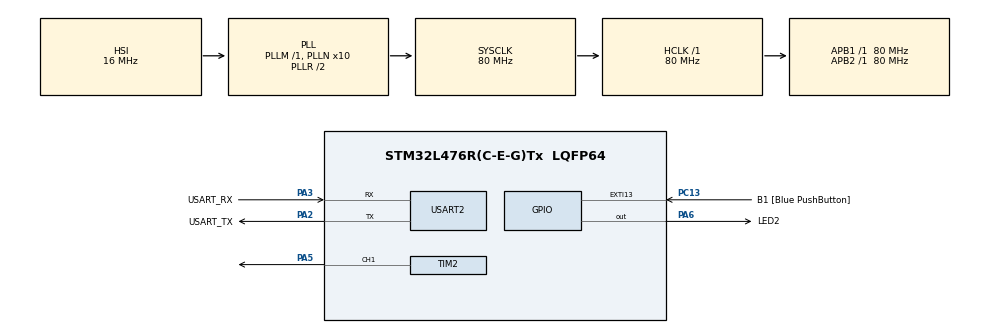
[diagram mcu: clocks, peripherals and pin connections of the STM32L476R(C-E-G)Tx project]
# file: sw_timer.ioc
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FREERTOS.Tasks01=defaultTask,24,128,StartDefaultTask,Default,NULL,Dynamic,NULL,NULL
Mcu.Family=STM32L4
Mcu.Name=STM32L476R(C-E-G)Tx
Mcu.Package=LQFP64
NVIC.PriorityGroup=NVIC_PRIORITYGROUP_4
PA13\ (JTMS-SWDIO).GPIO_Label=TMS
PA13\ (JTMS-SWDIO).Mode=Serial_Wire
PA13\ (JTMS-SWDIO).Signal=SYS_JTMS-SWDIO
PA14\ (JTCK-SWCLK).GPIO_Label=TCK
PA14\ (JTCK-SWCLK).Mode=Serial_Wire
PA14\ (JTCK-SWCLK).Signal=SYS_JTCK-SWCLK
PA2.GPIO_Label=USART_TX
PA2.GPIO_Mode=GPIO_MODE_AF_PP
PA2.GPIO_PuPd=GPIO_NOPULL
PA2.GPIO_Speed=GPIO_SPEED_FREQ_VERY_HIGH
PA2.Mode=Asynchronous
PA2.Signal=USART2_TX
PA3.GPIO_Label=USART_RX
PA3.GPIO_Mode=GPIO_MODE_AF_PP
PA3.GPIO_PuPd=GPIO_NOPULL
PA3.GPIO_Speed=GPIO_SPEED_FREQ_VERY_HIGH
PA3.Mode=Asynchronous
PA3.Signal=USART2_RX
PA5.Signal=S_TIM2_CH1
PA6.GPIO_Label=LED2
PA6.Signal=GPIO_Output
PB3\ (JTDO-TRACESWO).GPIO_Label=SWO
PB3\ (JTDO-TRACESWO).Signal=SYS_JTDO-SWO
PC13.GPIO_Label=B1 [Blue PushButton]
PC13.GPIO_ModeDefaultEXTI=GPIO_MODE_IT_FALLING
PC13.GPIO_PuPd=GPIO_NOPULL
PC13.Signal=GPXTI13
PC14-OSC32_IN\ (PC14).Mode=LSE-External-Oscillator
PC14-OSC32_IN\ (PC14).Signal=RCC_OSC32_IN
PC15-OSC32_OUT\ (PC15).Mode=LSE-External-Oscillator
PC15-OSC32_OUT\ (PC15).Signal=RCC_OSC32_OUT
PH0-OSC_IN\ (PH0).Signal=RCC_OSC_IN
PH1-OSC_OUT\ (PH1).Signal=RCC_OSC_OUT
ProjectManager.HeapSize=0x200
ProjectManager.StackSize=0x400
ProjectManager.TargetToolchain=CMake
RCC.ADCFreq_Value=64000000
RCC.AHBFreq_Value=80000000
RCC.APB1Freq_Value=80000000
RCC.APB1TimFreq_Value=80000000
RCC.APB2Freq_Value=80000000
RCC.APB2TimFreq_Value=80000000
RCC.CortexFreq_Value=80000000
RCC.HCLKFreq_Value=80000000
RCC.HSE_VALUE=8000000
RCC.HSI_VALUE=16000000
RCC.MSI_VALUE=4000000
RCC.PLLN=10
RCC.PLLSourceVirtual=RCC_PLLSOURCE_HSI
RCC.PREFETCH_ENABLE=1
RCC.SYSCLKFreq_VALUE=80000000
RCC.SYSCLKSource=RCC_SYSCLKSOURCE_PLLCLK
RCC.USBFreq_Value=64000000
RCC.VCOOutputFreq_Value=160000000
SH.S_TIM2_CH1.0=TIM2_CH1,PWM Generation1 CH1
TIM2.Channel-PWM\ Generation1\ CH1=TIM_CHANNEL_1
TIM2.Period=99
TIM2.Prescaler=79
USART2.VirtualMode-Asynchronous=VM_ASYNC
VP_FREERTOS_VS_CMSIS_V2.Mode=CMSIS_V2
VP_TIM6_VS_ClockSourceINT.Mode=Enable_Timer
board=NUCLEO-L476RG

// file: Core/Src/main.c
/* USER CODE BEGIN Header */
/**
 ******************************************************************************
 * @file           : main.c
 * @brief          : Main program body
 ******************************************************************************
 * @attention
 *
 * Copyright (c) 2026 STMicroelectronics.
 * All rights reserved.
 *
 * This software is licensed under terms that can be found in the LICENSE file
 * in the root directory of this software component.
 * If no LICENSE file comes with this software, it is provided AS-IS.
 *
 ******************************************************************************
 */
/* USER CODE END Header */
#include "main.h"
#include "cmsis_os.h"

/* USER CODE BEGIN Includes */
#include "timer_app.h"
#include <stdio.h>
#include <string.h>
/* USER CODE END Includes */

TIM_HandleTypeDef htim2;
TIM_HandleTypeDef htim6;

UART_HandleTypeDef huart2;

/* Definitions for defaultTask */
osThreadId_t defaultTaskHandle;
const osThreadAttr_t defaultTask_attributes = {
    .name = "defaultTask",
    .stack_size = 128 * 4,
    .priority = (osPriority_t)osPriorityNormal,
};

void SystemClock_Config(void);
static void MX_GPIO_Init(void);
static void MX_TIM2_Init(void);
static void MX_TIM6_Init(void);
static void MX_USART2_UART_Init(void);
void StartDefaultTask(void *argument);

int main(void)
{

    /* MCU
     * Configuration--------------------------------------------------------*/

    /* Reset of all peripherals, Initializes the Flash interface and the
     * Systick. */
    HAL_Init();

    /* Configure the system clock */
    SystemClock_Config();

    /* Initialize all configured peripherals */
    MX_GPIO_Init();
    MX_TIM2_Init();
    MX_TIM6_Init();
    MX_USART2_UART_Init();

    /* Init scheduler */
    osKernelInitialize();

    /* Create the thread(s) */
    /* creation of defaultTask */
    defaultTaskHandle =
        osThreadNew(StartDefaultTask, NULL, &defaultTask_attributes);

    /* Start scheduler */
    osKernelStart();

    /* We should never get here as control is now taken by the scheduler */

    /* Infinite loop */
    while (1)
    {

    }
}

void SystemClock_Config(void)
{
    RCC_OscInitTypeDef RCC_OscInitStruct = {0};
    RCC_ClkInitTypeDef RCC_ClkInitStruct = {0};

    /** Configure the main internal regulator output voltage
     */
    if (HAL_PWREx_ControlVoltageScaling(PWR_REGULATOR_VOLTAGE_SCALE1) != HAL_OK)
    {
        Error_Handler();
    }

    /** Initializes the RCC Oscillators according to the specified parameters
     * in the RCC_OscInitTypeDef structure.
     */
    RCC_OscInitStruct.OscillatorType = RCC_OSCILLATORTYPE_HSI;
    RCC_OscInitStruct.HSIState = RCC_HSI_ON;
    RCC_OscInitStruct.HSICalibrationValue = RCC_HSICALIBRATION_DEFAULT;
    RCC_OscInitStruct.PLL.PLLState = RCC_PLL_ON;
    RCC_OscInitStruct.PLL.PLLSource = RCC_PLLSOURCE_HSI;
    RCC_OscInitStruct.PLL.PLLM = 1;
    RCC_OscInitStruct.PLL.PLLN = 10;
    RCC_OscInitStruct.PLL.PLLP = RCC_PLLP_DIV7;
    RCC_OscInitStruct.PLL.PLLQ = RCC_PLLQ_DIV2;
    RCC_OscInitStruct.PLL.PLLR = RCC_PLLR_DIV2;
    if (HAL_RCC_OscConfig(&RCC_OscInitStruct) != HAL_OK)
    {
        Error_Handler();
    }

    /** Initializes the CPU, AHB and APB buses clocks
     */
    RCC_ClkInitStruct.ClockType = RCC_CLOCKTYPE_HCLK | RCC_CLOCKTYPE_SYSCLK |
                                  RCC_CLOCKTYPE_PCLK1 | RCC_CLOCKTYPE_PCLK2;
    RCC_ClkInitStruct.SYSCLKSource = RCC_SYSCLKSOURCE_PLLCLK;
    RCC_ClkInitStruct.AHBCLKDivider = RCC_SYSCLK_DIV1;
    RCC_ClkInitStruct.APB1CLKDivider = RCC_HCLK_DIV1;
    RCC_ClkInitStruct.APB2CLKDivider = RCC_HCLK_DIV1;

    if (HAL_RCC_ClockConfig(&RCC_ClkInitStruct, FLASH_LATENCY_4) != HAL_OK)
    {
        Error_Handler();
    }
}

static void MX_TIM2_Init(void)
{

    TIM_MasterConfigTypeDef sMasterConfig = {0};
    TIM_OC_InitTypeDef sConfigOC = {0};

    htim2.Instance = TIM2;
    htim2.Init.Prescaler = 79;
    htim2.Init.CounterMode = TIM_COUNTERMODE_UP;
    htim2.Init.Period = 99;
    htim2.Init.ClockDivision = TIM_CLOCKDIVISION_DIV1;
    htim2.Init.AutoReloadPreload = TIM_AUTORELOAD_PRELOAD_DISABLE;
    if (HAL_TIM_PWM_Init(&htim2) != HAL_OK)
    {
        Error_Handler();
    }
    sMasterConfig.MasterOutputTrigger = TIM_TRGO_RESET;
    sMasterConfig.MasterSlaveMode = TIM_MASTERSLAVEMODE_DISABLE;
    if (HAL_TIMEx_MasterConfigSynchronization(&htim2, &sMasterConfig) != HAL_OK)
    {
        Error_Handler();
    }
    sConfigOC.OCMode = TIM_OCMODE_PWM1;
    sConfigOC.Pulse = 0;
    sConfigOC.OCPolarity = TIM_OCPOLARITY_HIGH;
    sConfigOC.OCFastMode = TIM_OCFAST_DISABLE;
    if (HAL_TIM_PWM_ConfigChannel(&htim2, &sConfigOC, TIM_CHANNEL_1) != HAL_OK)
    {
        Error_Handler();
    }
    HAL_TIM_MspPostInit(&htim2);
}

static void MX_TIM6_Init(void)
{

    TIM_MasterConfigTypeDef sMasterConfig = {0};

    htim6.Instance = TIM6;
    htim6.Init.Prescaler = 0;
    htim6.Init.CounterMode = TIM_COUNTERMODE_UP;
    htim6.Init.Period = 65535;
    htim6.Init.AutoReloadPreload = TIM_AUTORELOAD_PRELOAD_DISABLE;
    if (HAL_TIM_Base_Init(&htim6) != HAL_OK)
    {
        Error_Handler();
    }
    sMasterConfig.MasterOutputTrigger = TIM_TRGO_RESET;
    sMasterConfig.MasterSlaveMode = TIM_MASTERSLAVEMODE_DISABLE;
    if (HAL_TIMEx_MasterConfigSynchronization(&htim6, &sMasterConfig) != HAL_OK)
    {
        Error_Handler();
    }
}

static void MX_USART2_UART_Init(void)
{

    huart2.Instance = USART2;
    huart2.Init.BaudRate = 115200;
    huart2.Init.WordLength = UART_WORDLENGTH_8B;
    huart2.Init.StopBits = UART_STOPBITS_1;
    huart2.Init.Parity = UART_PARITY_NONE;
    huart2.Init.Mode = UART_MODE_TX_RX;
    huart2.Init.HwFlowCtl = UART_HWCONTROL_NONE;
    huart2.Init.OverSampling = UART_OVERSAMPLING_16;
    huart2.Init.OneBitSampling = UART_ONE_BIT_SAMPLE_DISABLE;
    huart2.AdvancedInit.AdvFeatureInit = UART_ADVFEATURE_NO_INIT;
    if (HAL_UART_Init(&huart2) != HAL_OK)
    {
        Error_Handler();
    }
}

static void MX_GPIO_Init(void)
{
    GPIO_InitTypeDef GPIO_InitStruct = {0};

    /* GPIO Ports Clock Enable */
    __HAL_RCC_GPIOC_CLK_ENABLE();
    __HAL_RCC_GPIOH_CLK_ENABLE();
    __HAL_RCC_GPIOA_CLK_ENABLE();
    __HAL_RCC_GPIOB_CLK_ENABLE();

    /*Configure GPIO pin Output Level */
    HAL_GPIO_WritePin(LED2_GPIO_Port, LED2_Pin, GPIO_PIN_RESET);

    /*Configure GPIO pin : B1_Pin */
    GPIO_InitStruct.Pin = B1_Pin;
    GPIO_InitStruct.Mode = GPIO_MODE_IT_FALLING;
    GPIO_InitStruct.Pull = GPIO_NOPULL;
    HAL_GPIO_Init(B1_GPIO_Port, &GPIO_InitStruct);

    /*Configure GPIO pin : LED2_Pin */
    GPIO_InitStruct.Pin = LED2_Pin;
    GPIO_InitStruct.Mode = GPIO_MODE_OUTPUT_PP;
    GPIO_InitStruct.Pull = GPIO_NOPULL;
    GPIO_InitStruct.Speed = GPIO_SPEED_FREQ_LOW;
    HAL_GPIO_Init(LED2_GPIO_Port, &GPIO_InitStruct);

}

void StartDefaultTask(void *argument)
{
    /* USER CODE BEGIN 5 */
    uint32_t tick_counter = 0;
    char msg[64];

    /* Add a variable to track the previous state */
    uint8_t current_brightness = 0;
    uint8_t last_brightness =
        255; // Set to an impossible value initially so it prints the first time

    TimerApp_Init();

    /* Infinite loop */
    for (;;)
    {
        current_brightness = TimerApp_GetLed1Brightness();

        /* Principle: Only print if the state has actually changed */
        if (current_brightness != last_brightness)
        {
            sprintf(msg, "Current LED1 Brightness: %u%%\r\n",
                    current_brightness);
            HAL_UART_Transmit(&huart2, (uint8_t *)msg, strlen(msg), 100);

            /* Update the tracker */
            last_brightness = current_brightness;
        }

        /* Delay for 500ms */
        osDelay(500U);
        tick_counter += 500U;

        /* Maintain the original 3-second flash requirement for LED2 */
        if (tick_counter >= 3000U)
        {
            TimerApp_FlashLed2();
            tick_counter = 0;
        }
    }
    /* USER CODE END 5 */
}

void Error_Handler(void)
{
    /* USER CODE BEGIN Error_Handler_Debug */
    /* User can add his own implementation to report the HAL error return state
     */
    __disable_irq();
    while (1)
    {
    }
    /* USER CODE END Error_Handler_Debug */
}
#ifdef USE_FULL_ASSERT
/**
 * @brief  Reports the name of the source file and the source line number
 *         where the assert_param error has occurred.
 * @param  file: pointer to the source file name
 * @param  line: assert_param error line source number
 * @retval None
 */
void assert_failed(uint8_t *file, uint32_t line)
{
    /* USER CODE BEGIN 6 */
    /* User can add his own implementation to report the file name and line
       number, ex: printf("Wrong parameters value: file %s on line %d\r\n",
       file, line) */
    /* USER CODE END 6 */
}
#endif /* USE_FULL_ASSERT */
